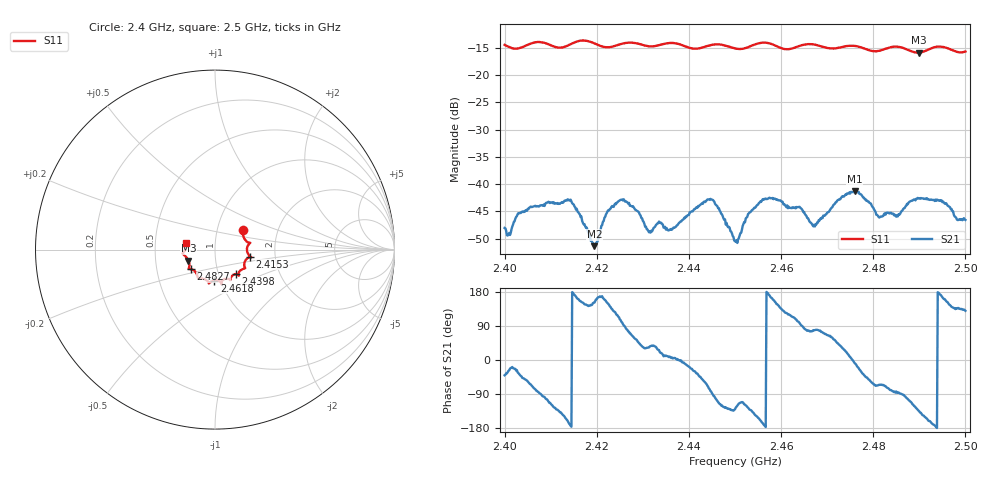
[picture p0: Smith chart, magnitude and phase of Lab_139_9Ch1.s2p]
# Hz S RI R 50
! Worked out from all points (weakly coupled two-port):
!   601 points, 2.4 GHz to 2.5 GHz, reference 50 ohm
!   highest |S21| = -41.32 dB at 2.476 GHz (marker M1); lowest = -51.3 dB at 2.4195 GHz (marker M2)
!   lowest |S11| = -15.9 dB at 2.4898 GHz (marker M3), VSWR 1.38, Z = 36.9 - j4.63 ohm
!   |S11| at or under -10 dB: start of sweep to end of sweep
!   S12 and S22 are empty: the file has one direction only
!   S11 on the Smith chart (normalised r, x): 2.4 GHz: 1.33, +0.29; 2.4153 GHz: 1.48, -0.12; 2.4398 GHz: 1.21, -0.34; 2.4618 GHz: 0.94, -0.33; 2.4827 GHz: 0.75, -0.17; 2.5 GHz: 0.72, +0.06
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2.4e9  0.1555 0.1067  0.00303 -0.00258  0 0  0 0
2.401e9  0.1553 0.0911  0.00319 -0.00163  0 0  0 0
2.405833e9  0.1911 0.0375  0.00242 -0.00567  0 0  0 0
2.415333e9  0.196 -0.0386  -0.00604 0.0011  0 0  0 0
2.416667e9  0.2021 -0.0427  -0.00452 0.0023  0 0  0 0
2.4195e9  0.1897 -0.043  -0.00238 0.00129  0 0  0 0
2.422167e9  0.1667 -0.0658  -0.00482 0.00253  0 0  0 0
2.425333e9  0.1656 -0.098  -0.00138 0.00708  0 0  0 0
2.431333e9  0.1402 -0.1172  0.00304 0.00199  0 0  0 0
2.433333e9  0.1307 -0.1335  0.00392 0.00197  0 0  0 0
2.436e9  0.1324 -0.145  0.00379 0.000487  0 0  0 0
2.439833e9  0.1157 -0.136  0.005 -0.00147  0 0  0 0
2.445e9  0.0845 -0.1686  0.000284 -0.00722  0 0  0 0
2.45e9  0.0655 -0.1625  -0.00193 -0.00231  0 0  0 0
2.456e9  0.0382 -0.1938  -0.00708 -0.00168  0 0  0 0
2.461833e9  -0.00287 -0.1726  -0.00294 0.00532  0 0  0 0
2.466667e9  -0.0345 -0.1881  0.00107 0.0042  0 0  0 0
2.476e9  -0.0949 -0.1581  0.00849 -0.00129  0 0  0 0
2.482667e9  -0.1351 -0.1091  0.0019 -0.0049  0 0  0 0
2.483333e9  -0.1401 -0.1086  0.00139 -0.00528  0 0  0 0
2.489833e9  -0.1477 -0.0612  -0.00509 -0.00536  0 0  0 0
2.5e9  -0.1594 0.0385  -0.00302 0.00361  0 0  0 0
